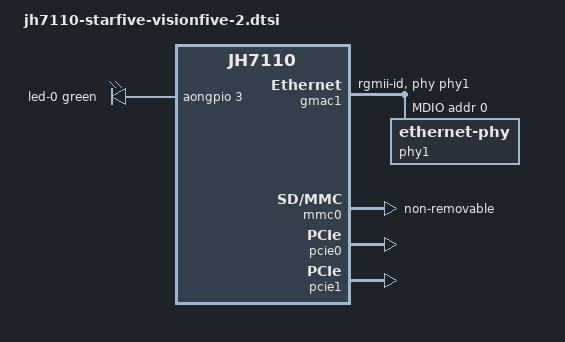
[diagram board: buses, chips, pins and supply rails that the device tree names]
// SPDX-License-Identifier: GPL-2.0 OR MIT
/*
 * Copyright (C) 2022 StarFive Technology Co., Ltd.
 * Copyright (C) 2022 Emil Renner Berthing <kernel@esmil.dk>
 */

/dts-v1/;
#include <dt-bindings/gpio/gpio.h>
#include <dt-bindings/leds/common.h>
#include "jh7110-common.dtsi"

/ {
	aliases {
		ethernet1 = &gmac1;
	};

	leds {
		compatible = "gpio-leds";

		led-0 {
			gpios = <&aongpio 3 GPIO_ACTIVE_HIGH>;
			color = <LED_COLOR_ID_GREEN>;
			default-state = "on";
			function = LED_FUNCTION_HEARTBEAT;
			linux,default-trigger = "heartbeat";
		};
	};
};

&gmac1 {
	phy-handle = <&phy1>;
	phy-mode = "rgmii-id";
	status = "okay";

	mdio {
		#address-cells = <1>;
		#size-cells = <0>;
		compatible = "snps,dwmac-mdio";

		phy1: ethernet-phy@1 {
			reg = <0>;
		};
	};
};

&mmc0 {
	non-removable;
};

&pcie0 {
	status = "okay";
};

&pcie1 {
	status = "okay";
};
